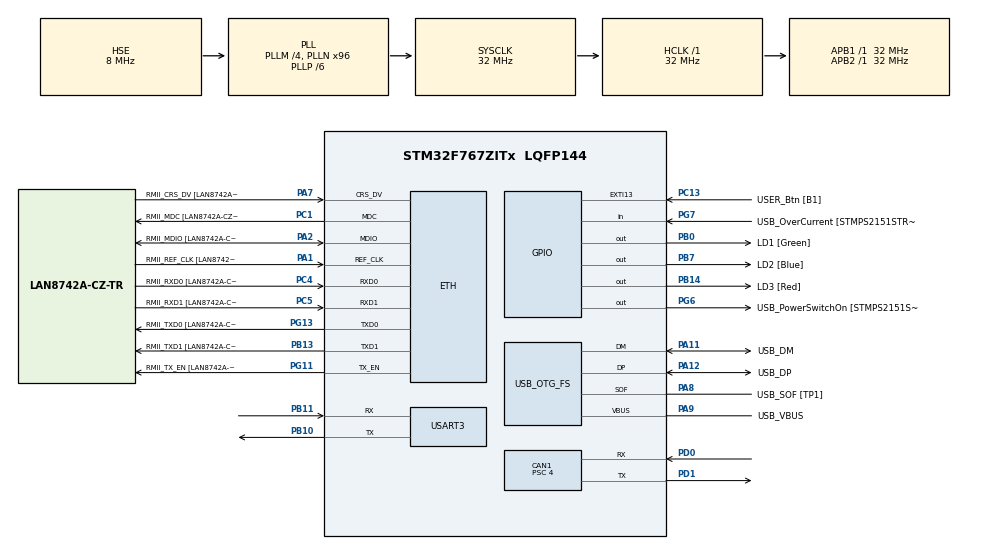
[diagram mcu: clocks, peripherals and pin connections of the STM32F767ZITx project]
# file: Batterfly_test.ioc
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CAN1.ABOM=ENABLE
CAN1.BS1=CAN_BS1_13TQ
CAN1.BS2=CAN_BS2_2TQ
CAN1.CalculateBaudRate=500000
CAN1.CalculateTimeBit=2000
CAN1.CalculateTimeQuantum=125.0
CAN1.Mode=CAN_MODE_NORMAL
CAN1.NART=ENABLE
CAN1.Prescaler=4
CAN1.TXFP=ENABLE
CORTEX_M7.default_mode_Activation=1
ETH.MediaInterface=HAL_ETH_RMII_MODE
ETH.PHY_Name=LAN8742A_PHY_ADDRESS
ETH.PHY_Value=0
ETH.PhyAddress=0
LWIP.BSP.number=1
LWIP.IP_ADDRESS=192.168.001.010
LWIP.LWIP_DHCP=0
LWIP.NETMASK_ADDRESS=255.255.255.000
LWIP.Version=v2.1.2_Cube
LWIP0.BSP.STBoard=false
LWIP0.BSP.api=BSP_COMPONENT_DRIVER
LWIP0.BSP.component=LAN8742
LWIP0.BSP.instance=LAN8742
LWIP0.BSP.name=Driver_PHY
LWIP0.BSP.semaphore=S_LAN8742
LWIP0.BSP.solution=LAN8742
Mcu.Family=STM32F7
Mcu.Name=STM32F767ZITx
Mcu.Package=LQFP144
NVIC.CAN1_RX0_IRQn=true\:0\:0\:false\:false\:true\:true\:true\:true
NVIC.CAN1_SCE_IRQn=true\:0\:0\:false\:false\:true\:true\:true\:true
NVIC.ETH_IRQn=true\:0\:0\:false\:false\:true\:true\:true\:true
NVIC.PriorityGroup=NVIC_PRIORITYGROUP_4
NVIC.USART3_IRQn=true\:0\:0\:false\:false\:true\:true\:true\:true
PA1.GPIO_Label=RMII_REF_CLK [LAN8742A-CZ-TR_REFCLK0]
PA1.Mode=RMII
PA1.Signal=ETH_REF_CLK
PA10.GPIO_Label=USB_ID
PA10.Signal=USB_OTG_FS_ID
PA11.GPIO_Label=USB_DM
PA11.Mode=Device_Only
PA11.Signal=USB_OTG_FS_DM
PA12.GPIO_Label=USB_DP
PA12.Mode=Device_Only
PA12.Signal=USB_OTG_FS_DP
PA13.GPIO_Label=TMS
PA13.Mode=Serial_Wire
PA13.Signal=SYS_JTMS-SWDIO
PA14.GPIO_Label=TCK
PA14.Mode=Serial_Wire
PA14.Signal=SYS_JTCK-SWCLK
PA2.GPIO_Label=RMII_MDIO [LAN8742A-CZ-TR_MDIO]
PA2.Mode=RMII
PA2.Signal=ETH_MDIO
PA7.GPIO_Label=RMII_CRS_DV [LAN8742A-CZ-TR_CRS_DV]
PA7.Mode=RMII
PA7.Signal=ETH_CRS_DV
PA8.GPIO_Label=USB_SOF [TP1]
PA8.Mode=Activate_SOF_FS
PA8.Signal=USB_OTG_FS_SOF
PA9.GPIO_Label=USB_VBUS
PA9.Mode=Activate_VBUS
PA9.Signal=USB_OTG_FS_VBUS
PB0.GPIO_Label=LD1 [Green]
PB0.Signal=GPIO_Output
PB10.Mode=Asynchronous
PB10.Signal=USART3_TX
PB11.Mode=Asynchronous
PB11.Signal=USART3_RX
PB13.GPIO_Label=RMII_TXD1 [LAN8742A-CZ-TR_TXD1]
PB13.Mode=RMII
PB13.Signal=ETH_TXD1
PB14.GPIO_Label=LD3 [Red]
PB14.Signal=GPIO_Output
PB3.GPIO_Label=SWO
PB3.Signal=SYS_JTDO-SWO
PB7.GPIO_Label=LD2 [Blue]
PB7.Signal=GPIO_Output
PC1.GPIO_Label=RMII_MDC [LAN8742A-CZ-TR_MDC]
PC1.Mode=RMII
PC1.Signal=ETH_MDC
PC13.GPIO_Label=USER_Btn [B1]
PC13.Signal=GPXTI13
PC14/OSC32_IN.Mode=LSE-External-Oscillator
PC14/OSC32_IN.Signal=RCC_OSC32_IN
PC15/OSC32_OUT.Mode=LSE-External-Oscillator
PC15/OSC32_OUT.Signal=RCC_OSC32_OUT
PC4.GPIO_Label=RMII_RXD0 [LAN8742A-CZ-TR_RXD0]
PC4.Mode=RMII
PC4.Signal=ETH_RXD0
PC5.GPIO_Label=RMII_RXD1 [LAN8742A-CZ-TR_RXD1]
PC5.Mode=RMII
PC5.Signal=ETH_RXD1
PD0.Mode=CAN_Activate
PD0.Signal=CAN1_RX
PD1.Mode=CAN_Activate
PD1.Signal=CAN1_TX
PG11.GPIO_Label=RMII_TX_EN [LAN8742A-CZ-TR_TXEN]
PG11.Mode=RMII
PG11.Signal=ETH_TX_EN
PG13.GPIO_Label=RMII_TXD0 [LAN8742A-CZ-TR_TXD0]
PG13.Mode=RMII
PG13.Signal=ETH_TXD0
PG6.GPIO_Label=USB_PowerSwitchOn [STMPS2151STR_EN]
PG6.Signal=GPIO_Output
PG7.GPIO_Label=USB_OverCurrent [STMPS2151STR_FAULT]
PG7.Signal=GPIO_Input
PH0/OSC_IN.GPIO_Label=MCO [STM32F103CBT6_PA8]
PH0/OSC_IN.Mode=HSE-External-Clock-Source
PH0/OSC_IN.Signal=RCC_OSC_IN
PH1/OSC_OUT.Mode=HSE-External-Clock-Source
PH1/OSC_OUT.Signal=RCC_OSC_OUT
ProjectManager.HeapSize=0x200
ProjectManager.StackSize=0x400
ProjectManager.TargetToolchain=STM32CubeIDE
RCC.48MHZClocksFreq_Value=24000000
RCC.AHBFreq_Value=32000000
RCC.APB1Freq_Value=32000000
RCC.APB1TimFreq_Value=32000000
RCC.APB2Freq_Value=32000000
RCC.APB2TimFreq_Value=32000000
RCC.CortexFreq_Value=32000000
RCC.HCLKFreq_Value=32000000
RCC.HSE_VALUE=8000000
RCC.HSI_VALUE=16000000
RCC.PLLM=4
RCC.PLLMUL=RCC_PLL_MUL9
RCC.PLLN=96
RCC.PLLP=RCC_PLLP_DIV6
RCC.PLLQ=4
RCC.PRESCALERUSB=RCC_USBCLKSOURCE_PLL_DIV1_5
RCC.SYSCLKFreq_VALUE=32000000
RCC.SYSCLKSource=RCC_SYSCLKSOURCE_PLLCLK
RCC.SYSCLKSourceVirtual=RCC_SYSCLKSOURCE_PLLCLK
RCC.USBFreq_Value=48000000
RCC.VCOOutputFreq_Value=192000000
USART3.VirtualMode-Asynchronous=VM_ASYNC
USB_OTG_FS.VirtualMode=Device_Only
VP_LWIP_VS_Enabled.Mode=Enabled
board=NUCLEO-F767ZI

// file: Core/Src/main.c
/* USER CODE BEGIN Header */
/**
  ******************************************************************************
  * @file           : main.c
  * @brief          : Main program body
  ******************************************************************************
  * @attention
  *
  * Copyright (c) 2026 STMicroelectronics.
  * All rights reserved.
  *
  * This software is licensed under terms that can be found in the LICENSE file
  * in the root directory of this software component.
  * If no LICENSE file comes with this software, it is provided AS-IS.
  *
  ******************************************************************************
  */
/* USER CODE END Header */
#include "main.h"
#include "lwip.h"

/* USER CODE BEGIN Includes */
#include "canopen_types.h"
#include "abstraction_layer.h"
#include "nmt.h"
#include "heartbeat.h"
#include "sdo.h"
#include "pdo.h"
#include "lwip/udp.h"
#include <stdlib.h>
#include <string.h>
/* USER CODE END Includes */

CAN_HandleTypeDef hcan1;

UART_HandleTypeDef huart3;

PCD_HandleTypeDef hpcd_USB_OTG_FS;

/* USER CODE BEGIN PV */
CAN_TxHeaderTypeDef TxHeader; // Отвечает за отправку кадров
CAN_RxHeaderTypeDef RxHeader; // Для принятых кадров
uint8_t TxData[8] = {0}; // Полезные данные которые хотим передать
uint8_t RxData[8] = {0}; // Полезные данные из принятого кадра
uint32_t TxMailbox = 0;
uint8_t node_id_mcu = 5; // ID STM32F767ZI
uint32_t last_heartbeat = 0;
int32_t target_velocity = 0;
uint32_t can_timer_1 = 0;
uint32_t can_timer_2 = 0;
uint16_t motor_controlword = 0x000F;
uint16_t old_controlword = 0;
int32_t old_velocity = -1;
/* USER CODE END PV */

void SystemClock_Config(void);
static void MPU_Config(void);
static void MX_GPIO_Init(void);
static void MX_CAN1_Init(void);
static void MX_USART3_UART_Init(void);
static void MX_USB_OTG_FS_PCD_Init(void);

/* USER CODE BEGIN 0 */
#define CMD_SET_VELOCITY 0x01
#define CMD_GET_TELEMETRY 0x02
#define CMD_STOP 0x03
#define CMD_START 0x04
#define RESP_TELEMETRY 0x12

int32_t current_position = 0;
int32_t current_velocity = 0;
int32_t current_torque= 0;

// Эта функция автоматически вызывается lwIP, когда прилетает UDP пакет
void udp_receive_callback(void *arg, struct udp_pcb *upcb, struct pbuf *p, const ip_addr_t *addr, u16_t port)
{
    if (p != NULL)
    {
        uint8_t *data = (uint8_t *)p->payload;
        uint16_t len = p->len;

        if (len >= 1) { // Пакет должен содержать хотя бы 1 байт (ID)
            uint8_t cmd_id = data[0];

            switch (cmd_id) {

                case CMD_SET_VELOCITY:
                    if (len >= 5) {
                        // Читаем 4 байта скорости (int32_t), начиная с 1-го байта (смещение data+1)
                        int32_t new_velocity;
                        memcpy(&new_velocity, data + 1, sizeof(int32_t));

                        target_velocity = new_velocity;
                        motor_controlword = 0x000F; // Включаем мотор при получении скорости
                    }
                    break;

                case CMD_GET_TELEMETRY:
                {
                    // Формируем ответный пакет: [ID(1)] + [Pos(4)] + [Vel(4)] + [Torque(4)] = 13 байт
                    uint8_t resp_buffer[13];
                    resp_buffer[0] = RESP_TELEMETRY;
                    memcpy(resp_buffer + 1, &current_position, 4);
                    memcpy(resp_buffer + 5, &current_velocity, 4);
                    memcpy(resp_buffer + 9, &current_torque, 4);

                    struct pbuf *p_out = pbuf_alloc(PBUF_TRANSPORT, 13, PBUF_RAM);
                    if (p_out != NULL) {
                        pbuf_take(p_out, resp_buffer, 13);
                        udp_sendto(upcb, p_out, addr, port); // Отвечаем ноутбуку
                        pbuf_free(p_out);
                    }
                    break;
                }

                case CMD_STOP:
                    motor_controlword = 0x0007; // Switch On (Сила выкл)
                    target_velocity = 0;
                    break;

                case CMD_START:
                    motor_controlword = 0x000F; // Enable Operation (Сила вкл)
                    target_velocity = 0;
                    break;
            }
        }
        // Освобождаем память входящего пакета!
        pbuf_free(p);
    }
}

// Ф-я запуска UDP-сервера
void udp_server_init(void)
{
    struct udp_pcb *upcb = udp_new();
    if (upcb != NULL) {
        // Слушаем любой IP адрес и порт 5000
        udp_bind(upcb, IP_ADDR_ANY, 5000);
        udp_recv(upcb, udp_receive_callback, NULL);
    }
}
/* USER CODE END 0 */

int main(void)
{

  /* MPU Configuration--------------------------------------------------------*/
  MPU_Config();

  /* MCU Configuration--------------------------------------------------------*/

  /* Reset of all peripherals, Initializes the Flash interface and the Systick. */
  HAL_Init();

  /* Configure the system clock */
  SystemClock_Config();

  /* Initialize all configured peripherals */
  MX_GPIO_Init();
  MX_CAN1_Init();
  MX_USART3_UART_Init();
  MX_USB_OTG_FS_PCD_Init();
  MX_LWIP_Init();
  /* USER CODE BEGIN 2 */
  udp_server_init();
  if (can_init("can1") != 0) {
	  HAL_GPIO_TogglePin(LD3_GPIO_Port, LD3_Pin);
	  Error_Handler();
  }
  uint8_t epos_node_id = 7;

  HAL_Delay(2000); // Ожидание загрузки EPOS2

  // Переводим EPOS в PRE-OPERATIONAL
  CAN_Frame nmt_frame = {0};
  NMT_Create_Command(&nmt_frame, NMT_PRE_OPERATIONAL, epos_node_id);
  can_send(0, &nmt_frame);
  HAL_Delay(100);

  // Настраиваем все параметры через SDO
  CAN_Frame sdo_frame = {0};
  sdo_frame.id = 0x600 + epos_node_id;
  sdo_frame.dlc = 8;

  // 2.1 Режим Profile Velocity
  sdo_frame.data[0] = 0x2F;
  sdo_frame.data[1] = 0x60;
  sdo_frame.data[2] = 0x60;
  sdo_frame.data[3] = 0x00;
  sdo_frame.data[4] = 0x03;
  can_send(0, &sdo_frame);
  HAL_Delay(50);

  // 2.2 Ускорение 1000 и торможение 1000
  sdo_frame.data[0] = 0x23;
  sdo_frame.data[1] = 0x83;
  sdo_frame.data[2] = 0x60;
  sdo_frame.data[3] = 0x00;
  sdo_frame.data[4] = 0xE8;
  sdo_frame.data[5] = 0x03;
  sdo_frame.data[6] = 0x00;
  sdo_frame.data[7] = 0x00;
  can_send(0, &sdo_frame);
  HAL_Delay(50);

  sdo_frame.data[1] = 0x84; // Меняем на Deceleration
  can_send(0, &sdo_frame);
  HAL_Delay(50);

  // НАСТРАИВАЕМ TxPDO 2 Parametr НА ОТПРАВКУ ПО SYNC

  sdo_frame.data[0] = 0x23;
  sdo_frame.data[1] = 0x01;
  sdo_frame.data[2] = 0x18;
  sdo_frame.data[3] = 0x01; // 0x1801, sub 1
  sdo_frame.data[4] = 0x80;
  sdo_frame.data[5] = 0x02;
  sdo_frame.data[6] = 0x00;
  sdo_frame.data[7] = 0x80;
  can_send(0, &sdo_frame);
  HAL_Delay(50);

  // Настройка Mapping PDO 2
  sdo_frame.data[0] = 0x2F;
  sdo_frame.data[1] = 0x01;
  sdo_frame.data[2] = 0x1A;
  sdo_frame.data[3] = 0x00;
  sdo_frame.data[4] = 0x00;
  can_send(0, &sdo_frame);
  HAL_Delay(50);

  // Добавил Statusword
  sdo_frame.data[0] = 0x23;
  sdo_frame.data[1] = 0x01;
  sdo_frame.data[2] = 0x1A;
  sdo_frame.data[3] = 0x01;
  sdo_frame.data[4] = 0x10;
  sdo_frame.data[5] = 0x00;
  sdo_frame.data[6] = 0x41;
  sdo_frame.data[7] = 0x60;
  can_send(0, &sdo_frame);
  HAL_Delay(50);

  // добавил позицию
  sdo_frame.data[0] = 0x23;
  sdo_frame.data[1] = 0x01;
  sdo_frame.data[2] = 0x1A;
  sdo_frame.data[3] = 0x02;
  sdo_frame.data[4] = 0x20;
  sdo_frame.data[5] = 0x00;
  sdo_frame.data[6] = 0x64;
  sdo_frame.data[7] = 0x60;
  can_send(0, &sdo_frame);
  HAL_Delay(50);

  // включение для двух объектов
  sdo_frame.data[0] = 0x2F;
  sdo_frame.data[1] = 0x01;
  sdo_frame.data[2] = 0x1A;
  sdo_frame.data[3] = 0x00;
  sdo_frame.data[4] = 0x02;
  can_send(0, &sdo_frame);
  HAL_Delay(50);

  // Аналогично для скорости... (сделаю потом)

  // Переводим EPOS в OPERATIONAL
  NMT_Create_Command(&nmt_frame, NMT_OPERATIONAL, epos_node_id);
  can_send(0, &nmt_frame);
  HAL_Delay(100);

  // Запускаем привод через автомат состояний
  sdo_frame.data[0] = 0x2B;
  sdo_frame.data[1] = 0x40;
  sdo_frame.data[2] = 0x60;
  sdo_frame.data[3] = 0x00;
  sdo_frame.data[4] = 0x80;
  sdo_frame.data[5] = 0x00; // Fault Reset
  can_send(0, &sdo_frame);
  HAL_Delay(100);

  sdo_frame.data[4] = 0x06; // Shutdown
  can_send(0, &sdo_frame);
  HAL_Delay(50);

  sdo_frame.data[4] = 0x07; // Switch On
  can_send(0, &sdo_frame);
  HAL_Delay(50);

  sdo_frame.data[4] = 0x0F; // Enable Operation
  can_send(0, &sdo_frame);
  HAL_Delay(100);
  /* USER CODE END 2 */

  /* Infinite loop */
  /* USER CODE BEGIN WHILE */
  while (1)
  {
	  MX_LWIP_Process();

	  if (HAL_GetTick() - can_timer_1 >= 10) {
		  can_timer_1 = HAL_GetTick();

		  CAN_Frame sync_frame = {0};
          sync_frame.id = 0x080;
          sync_frame.dlc = 0;
          can_send(0, &sync_frame);

          for(volatile int i = 0; i < 5000; i++);
	  }

	  if (HAL_GetTick() - can_timer_2 >= 100)
	  {
		  can_timer_2 = HAL_GetTick();

		  CAN_Frame cmd_frame = {0};
		  cmd_frame.id = 0x600 + epos_node_id;
		  cmd_frame.dlc = 8;

		  cmd_frame.data[0] = 0x2B; // Запись 2 байт
		  cmd_frame.data[1] = 0x40;
		  cmd_frame.data[2] = 0x60;
		  cmd_frame.data[3] = 0x00;

		  cmd_frame.data[4] = (uint8_t)(motor_controlword);
		  cmd_frame.data[5] = (uint8_t)(motor_controlword >> 8);
		  cmd_frame.data[6] = (uint8_t)(motor_controlword >> 16);
		  cmd_frame.data[7] = (uint8_t)(motor_controlword >> 24);
		  can_send(0, &cmd_frame);

		  for(volatile int i = 0; i < 5000; i++);

		  CAN_Frame speed_cmd = {0};
		  speed_cmd.id = 0x600 + epos_node_id;
		  speed_cmd.dlc = 8;

		  speed_cmd.data[0] = 0x23; // Запись 4 байт
		  speed_cmd.data[1] = 0xFF;
		  speed_cmd.data[2] = 0x60;
		  speed_cmd.data[3] = 0x00;
		  speed_cmd.data[4] = (uint8_t)(target_velocity);
		  speed_cmd.data[5] = (uint8_t)(target_velocity >> 8);
		  speed_cmd.data[6] = (uint8_t)(target_velocity >> 16);
		  speed_cmd.data[7] = (uint8_t)(target_velocity >> 24);
		  can_send(0, &speed_cmd);
	  }
    /* USER CODE END WHILE */

  }
}

void SystemClock_Config(void)
{
  RCC_OscInitTypeDef RCC_OscInitStruct = {0};
  RCC_ClkInitTypeDef RCC_ClkInitStruct = {0};

  /** Configure LSE Drive Capability
  */
  HAL_PWR_EnableBkUpAccess();

  /** Configure the main internal regulator output voltage
  */
  __HAL_RCC_PWR_CLK_ENABLE();
  __HAL_PWR_VOLTAGESCALING_CONFIG(PWR_REGULATOR_VOLTAGE_SCALE3);

  /** Initializes the RCC Oscillators according to the specified parameters
  * in the RCC_OscInitTypeDef structure.
  */
  RCC_OscInitStruct.OscillatorType = RCC_OSCILLATORTYPE_HSE;
  RCC_OscInitStruct.HSEState = RCC_HSE_BYPASS;
  RCC_OscInitStruct.PLL.PLLState = RCC_PLL_ON;
  RCC_OscInitStruct.PLL.PLLSource = RCC_PLLSOURCE_HSE;
  RCC_OscInitStruct.PLL.PLLM = 4;
  RCC_OscInitStruct.PLL.PLLN = 96;
  RCC_OscInitStruct.PLL.PLLP = RCC_PLLP_DIV6;
  RCC_OscInitStruct.PLL.PLLQ = 4;
  RCC_OscInitStruct.PLL.PLLR = 2;
  if (HAL_RCC_OscConfig(&RCC_OscInitStruct) != HAL_OK)
  {
    Error_Handler();
  }

  /** Initializes the CPU, AHB and APB buses clocks
  */
  RCC_ClkInitStruct.ClockType = RCC_CLOCKTYPE_HCLK|RCC_CLOCKTYPE_SYSCLK
                              |RCC_CLOCKTYPE_PCLK1|RCC_CLOCKTYPE_PCLK2;
  RCC_ClkInitStruct.SYSCLKSource = RCC_SYSCLKSOURCE_PLLCLK;
  RCC_ClkInitStruct.AHBCLKDivider = RCC_SYSCLK_DIV1;
  RCC_ClkInitStruct.APB1CLKDivider = RCC_HCLK_DIV1;
  RCC_ClkInitStruct.APB2CLKDivider = RCC_HCLK_DIV1;

  if (HAL_RCC_ClockConfig(&RCC_ClkInitStruct, FLASH_LATENCY_1) != HAL_OK)
  {
    Error_Handler();
  }
}

static void MX_CAN1_Init(void)
{

  /* USER CODE BEGIN CAN1_Init 0 */
  CAN_FilterTypeDef sFilterConfig;
  /* USER CODE END CAN1_Init 0 */

  hcan1.Instance = CAN1;
  hcan1.Init.Prescaler = 4;
  hcan1.Init.Mode = CAN_MODE_NORMAL;
  hcan1.Init.SyncJumpWidth = CAN_SJW_1TQ;
  hcan1.Init.TimeSeg1 = CAN_BS1_13TQ;
  hcan1.Init.TimeSeg2 = CAN_BS2_2TQ;
  hcan1.Init.TimeTriggeredMode = DISABLE;
  hcan1.Init.AutoBusOff = ENABLE;
  hcan1.Init.AutoWakeUp = DISABLE;
  hcan1.Init.AutoRetransmission = ENABLE;
  hcan1.Init.ReceiveFifoLocked = DISABLE;
  hcan1.Init.TransmitFifoPriority = ENABLE;
  if (HAL_CAN_Init(&hcan1) != HAL_OK)
  {
    Error_Handler();
  }
  /* USER CODE BEGIN CAN1_Init 2 */
  sFilterConfig.FilterBank = 0;
  sFilterConfig.FilterMode = CAN_FILTERMODE_IDMASK;
  sFilterConfig.FilterScale = CAN_FILTERSCALE_32BIT;
  sFilterConfig.FilterIdHigh = 0x0000;
  sFilterConfig.FilterIdLow = 0x0000;
  sFilterConfig.FilterMaskIdHigh = 0x0000;
  sFilterConfig.FilterMaskIdLow = 0x0000;
  sFilterConfig.FilterFIFOAssignment = CAN_RX_FIFO0;
  sFilterConfig.FilterActivation = ENABLE;
  //sFilterConfig.SlaveStartFilterBank = 14;

  if(HAL_CAN_ConfigFilter(&hcan1, &sFilterConfig) != HAL_OK)
  {
  Error_Handler();
  }
  /* USER CODE END CAN1_Init 2 */

}

static void MX_USART3_UART_Init(void)
{

  huart3.Instance = USART3;
  huart3.Init.BaudRate = 115200;
  huart3.Init.WordLength = UART_WORDLENGTH_8B;
  huart3.Init.StopBits = UART_STOPBITS_1;
  huart3.Init.Parity = UART_PARITY_NONE;
  huart3.Init.Mode = UART_MODE_TX_RX;
  huart3.Init.HwFlowCtl = UART_HWCONTROL_NONE;
  huart3.Init.OverSampling = UART_OVERSAMPLING_16;
  huart3.Init.OneBitSampling = UART_ONE_BIT_SAMPLE_DISABLE;
  huart3.AdvancedInit.AdvFeatureInit = UART_ADVFEATURE_NO_INIT;
  if (HAL_UART_Init(&huart3) != HAL_OK)
  {
    Error_Handler();
  }

}

static void MX_USB_OTG_FS_PCD_Init(void)
{

  hpcd_USB_OTG_FS.Instance = USB_OTG_FS;
  hpcd_USB_OTG_FS.Init.dev_endpoints = 6;
  hpcd_USB_OTG_FS.Init.speed = PCD_SPEED_FULL;
  hpcd_USB_OTG_FS.Init.dma_enable = DISABLE;
  hpcd_USB_OTG_FS.Init.phy_itface = PCD_PHY_EMBEDDED;
  hpcd_USB_OTG_FS.Init.Sof_enable = ENABLE;
  hpcd_USB_OTG_FS.Init.low_power_enable = DISABLE;
  hpcd_USB_OTG_FS.Init.lpm_enable = DISABLE;
  hpcd_USB_OTG_FS.Init.vbus_sensing_enable = ENABLE;
  hpcd_USB_OTG_FS.Init.use_dedicated_ep1 = DISABLE;
  if (HAL_PCD_Init(&hpcd_USB_OTG_FS) != HAL_OK)
  {
    Error_Handler();
  }

}

static void MX_GPIO_Init(void)
{
  GPIO_InitTypeDef GPIO_InitStruct = {0};

  /* GPIO Ports Clock Enable */
  __HAL_RCC_GPIOC_CLK_ENABLE();
  __HAL_RCC_GPIOH_CLK_ENABLE();
  __HAL_RCC_GPIOA_CLK_ENABLE();
  __HAL_RCC_GPIOB_CLK_ENABLE();
  __HAL_RCC_GPIOG_CLK_ENABLE();
  __HAL_RCC_GPIOD_CLK_ENABLE();

  /*Configure GPIO pin Output Level */
  HAL_GPIO_WritePin(GPIOB, LD1_Pin|LD3_Pin|LD2_Pin, GPIO_PIN_RESET);

  /*Configure GPIO pin Output Level */
  HAL_GPIO_WritePin(USB_PowerSwitchOn_GPIO_Port, USB_PowerSwitchOn_Pin, GPIO_PIN_RESET);

  /*Configure GPIO pin : USER_Btn_Pin */
  GPIO_InitStruct.Pin = USER_Btn_Pin;
  GPIO_InitStruct.Mode = GPIO_MODE_IT_RISING;
  GPIO_InitStruct.Pull = GPIO_NOPULL;
  HAL_GPIO_Init(USER_Btn_GPIO_Port, &GPIO_InitStruct);

  /*Configure GPIO pins : LD1_Pin LD3_Pin LD2_Pin */
  GPIO_InitStruct.Pin = LD1_Pin|LD3_Pin|LD2_Pin;
  GPIO_InitStruct.Mode = GPIO_MODE_OUTPUT_PP;
  GPIO_InitStruct.Pull = GPIO_NOPULL;
  GPIO_InitStruct.Speed = GPIO_SPEED_FREQ_LOW;
  HAL_GPIO_Init(GPIOB, &GPIO_InitStruct);

  /*Configure GPIO pin : USB_PowerSwitchOn_Pin */
  GPIO_InitStruct.Pin = USB_PowerSwitchOn_Pin;
  GPIO_InitStruct.Mode = GPIO_MODE_OUTPUT_PP;
  GPIO_InitStruct.Pull = GPIO_NOPULL;
  GPIO_InitStruct.Speed = GPIO_SPEED_FREQ_LOW;
  HAL_GPIO_Init(USB_PowerSwitchOn_GPIO_Port, &GPIO_InitStruct);

  /*Configure GPIO pin : USB_OverCurrent_Pin */
  GPIO_InitStruct.Pin = USB_OverCurrent_Pin;
  GPIO_InitStruct.Mode = GPIO_MODE_INPUT;
  GPIO_InitStruct.Pull = GPIO_NOPULL;
  HAL_GPIO_Init(USB_OverCurrent_GPIO_Port, &GPIO_InitStruct);

}

/* USER CODE BEGIN 4 */

void HAL_CAN_RxFifo0MsgPendingCallback(CAN_HandleTypeDef *hcan)
{
    CAN_RxHeaderTypeDef rx_header;
    uint8_t rx_data[8];

    if (HAL_CAN_GetRxMessage(hcan, CAN_RX_FIFO0, &rx_header, rx_data) == HAL_OK)
    {
    	HAL_GPIO_TogglePin(LD2_GPIO_Port, LD2_Pin);
        CAN_Frame frame = {0};
        frame.id = rx_header.StdId;
        frame.dlc = rx_header.DLC;
        memcpy(frame.data, rx_data, frame.dlc);

        uint8_t pdo_num = 0;
        uint8_t node_id = 0;
        uint8_t parsed_data[8] = {0};
        uint8_t parsed_len = 0;

        if (PDO_Parse_TxPDO(&frame, &pdo_num, &node_id, parsed_data, &parsed_len) == 1)
        {
            if (node_id == 7)
            {
                // TxPDO 2: [Statusword(2)] + [Actual Position(4)]
                if (pdo_num == 2 && parsed_len >= 6)
                {
                    // 100% безопасный способ скопировать 4 байта в 32-битное число
                    memcpy(&current_position, &parsed_data[2], sizeof(int32_t));
                }
                // TxPDO 3: [Statusword(2)] + [Actual Velocity(4)]
                else if (pdo_num == 3 && parsed_len >= 6)
                {
                    memcpy(&current_velocity, &parsed_data[2], sizeof(int32_t));
                }
            }
        }
    }
}

/* USER CODE END 4 */

 /* MPU Configuration */

void MPU_Config(void)
{
  MPU_Region_InitTypeDef MPU_InitStruct = {0};

  /* Disables the MPU */
  HAL_MPU_Disable();

  /** Initializes and configures the Region and the memory to be protected
  */
  MPU_InitStruct.Enable = MPU_REGION_ENABLE;
  MPU_InitStruct.Number = MPU_REGION_NUMBER0;
  MPU_InitStruct.BaseAddress = 0x0;
  MPU_InitStruct.Size = MPU_REGION_SIZE_4GB;
  MPU_InitStruct.SubRegionDisable = 0x87;
  MPU_InitStruct.TypeExtField = MPU_TEX_LEVEL0;
  MPU_InitStruct.AccessPermission = MPU_REGION_NO_ACCESS;
  MPU_InitStruct.DisableExec = MPU_INSTRUCTION_ACCESS_DISABLE;
  MPU_InitStruct.IsShareable = MPU_ACCESS_SHAREABLE;
  MPU_InitStruct.IsCacheable = MPU_ACCESS_NOT_CACHEABLE;
  MPU_InitStruct.IsBufferable = MPU_ACCESS_NOT_BUFFERABLE;

  HAL_MPU_ConfigRegion(&MPU_InitStruct);
  /* Enables the MPU */
  HAL_MPU_Enable(MPU_PRIVILEGED_DEFAULT);

}

void Error_Handler(void)
{
  __disable_irq();
  while (1)
  {
  }
}
